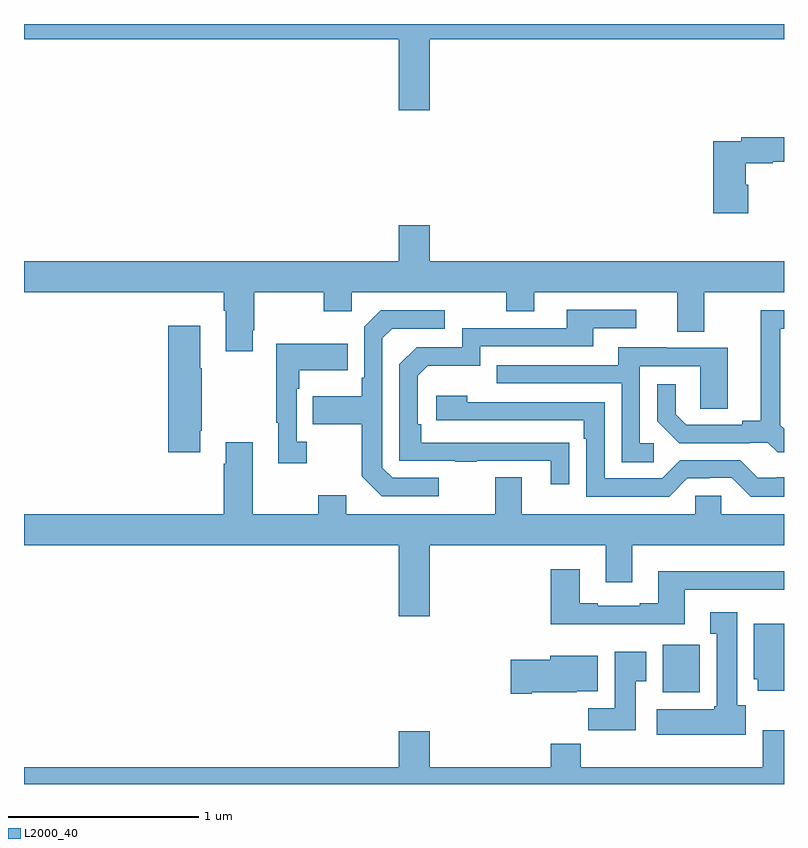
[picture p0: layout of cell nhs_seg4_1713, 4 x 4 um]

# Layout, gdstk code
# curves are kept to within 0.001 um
import gdstk
lib = gdstk.Library(unit=1e-6, precision=1e-09)
def R(c, l, rs):  # rectangles x0, y0, x1, y1
    for r in rs: c.add(gdstk.rectangle(r[:2], r[2:], *l))
def P(c, l, *ps):  # polygons
    for p in ps: c.add(gdstk.Polygon(p, *l))
L2000_40 = (2000, 40)

nhs_seg4_1713 = lib.new_cell('nhs_seg4_1713')
R(nhs_seg4_1713, L2000_40, [(202.361,793.382,202.557,793.633)])
P(nhs_seg4_1713, L2000_40, [(201.136,796.82),(203,796.82),(203,796.9),(199,796.9),(199,796.82),(200.972,796.82),(200.972,796.446),(201.136,796.446)],
  [(202.811,796.053),(202.798,796.053),(202.798,796.168),(202.941,796.168),(202.941,796.176),(203,796.176),(203,796.304),(202.774,796.304),(202.774,796.284),(202.628,796.284),(202.628,795.903),(202.811,795.903)],
  [(200.203,795.289),(200.211,795.289),(200.211,795.488),(200.578,795.488),(200.578,795.389),(200.724,795.389),(200.724,795.488),(201.538,795.488),(201.538,795.389),(201.685,795.389),(201.685,795.488),(202.439,795.488),(202.439,795.28),(202.579,795.28),(202.579,795.488),(203,795.488),(203,795.652),(201.136,795.652),(201.136,795.841),(200.972,795.841),(200.972,795.652),(199,795.652),(199,795.488),(200.051,795.488),(200.051,795.392),(200.063,795.392),(200.063,795.177),(200.203,795.177)],
  [(201.869,794.696),(201.092,794.697),(201.092,794.794),(201.072,794.794),(201.072,795.048),(201.125,795.101),(201.402,795.101),(201.402,795.204),(201.997,795.204),(201.997,795.3),(202.222,795.3),(202.222,795.396),(201.857,795.396),(201.857,795.3),(201.306,795.3),(201.306,795.198),(201.066,795.198),(200.976,795.108),(200.976,794.601),(201.271,794.601),(201.271,794.596),(201.383,794.596),(201.383,794.601),(201.773,794.601),(201.773,794.478),(201.869,794.478)],
  [(201.184,794.511),(200.94,794.511),(200.886,794.565),(200.886,795.246),(200.937,795.297),(201.214,795.297),(201.214,795.393),(200.877,795.393),(200.79,795.306),(200.79,795.037),(200.778,795.037),(200.778,794.941),(200.521,794.941),(200.521,794.794),(200.778,794.794),(200.778,794.521),(200.883,794.415),(201.184,794.415)],
  [(203,794.77),(202.981,794.789),(202.981,795.297),(203,795.297),(203,795.393),(202.877,795.393),(202.877,794.813),(202.781,794.813),(202.781,794.79),(202.486,794.79),(202.429,794.847),(202.429,795.004),(202.332,795.004),(202.332,794.81),(202.448,794.694),(202.82,794.694),(202.82,794.697),(202.914,794.697),(202.966,794.645),(203,794.645)],
  [(199.927,794.758),(199.935,794.758),(199.935,795.089),(199.927,795.089),(199.927,795.313),(199.76,795.313),(199.76,794.646),(199.927,794.646)],
  [(200.488,794.702),(200.436,794.702),(200.436,794.981),(200.449,794.981),(200.449,795.077),(200.705,795.077),(200.705,795.217),(200.328,795.217),(200.328,794.801),(200.339,794.801),(200.339,794.589),(200.488,794.589)],
  [(202.315,794.694),(202.242,794.694),(202.242,795.099),(202.56,795.099),(202.56,794.875),(202.705,794.875),(202.705,795.195),(202.381,795.195),(202.381,795.199),(202.127,795.199),(202.127,795.105),(201.487,795.105),(201.487,795.009),(202.146,795.009),(202.146,794.593),(202.315,794.593)],
  [(203,794.515),(202.963,794.515),(202.963,794.511),(202.863,794.511),(202.77,794.604),(202.455,794.604),(202.359,794.508),(202.056,794.508),(202.056,794.91),(201.332,794.91),(201.332,794.944),(201.171,794.944),(201.171,794.814),(201.947,794.814),(201.947,794.717),(201.96,794.717),(201.96,794.412),(202.395,794.412),(202.491,794.508),(202.61,794.508),(202.61,794.511),(202.725,794.511),(202.825,794.411),(203,794.411)],
  [(201.619,794.515),(201.479,794.515),(201.479,794.32),(200.695,794.32),(200.695,794.419),(200.548,794.419),(200.548,794.32),(200.203,794.32),(200.203,794.698),(200.063,794.698),(200.063,794.585),(200.051,794.585),(200.051,794.32),(199,794.32),(199,794.156),(200.972,794.156),(200.972,793.782),(201.136,793.782),(201.136,794.156),(202.061,794.156),(202.061,793.962),(202.201,793.962),(202.201,794.156),(203,794.156),(203,794.32),(202.671,794.32),(202.671,794.418),(202.533,794.418),(202.533,794.32),(201.619,794.32)],
  [(202.477,793.923),(203,793.923),(203,794.02),(202.337,794.02),(202.337,793.852),(202.241,793.852),(202.241,793.839),(202.021,793.839),(202.021,793.852),(201.925,793.852),(201.925,794.029),(201.773,794.029),(201.773,793.742),(202.477,793.742)],
  [(202.798,793.314),(202.753,793.314),(202.753,793.804),(202.613,793.804),(202.613,793.691),(202.646,793.691),(202.646,793.308),(202.633,793.308),(202.633,793.294),(202.329,793.294),(202.329,793.16),(202.798,793.16)],
  [(203,793.744),(202.841,793.744),(202.841,793.452),(202.862,793.452),(202.862,793.392),(203,793.392)],
  [(202.219,793.441),(202.276,793.441),(202.276,793.597),(202.109,793.597),(202.109,793.3),(201.97,793.3),(201.97,793.182),(202.219,793.182)],
  [(201.673,793.382),(201.909,793.382),(201.909,793.388),(202.021,793.388),(202.021,793.576),(201.77,793.576),(201.77,793.553),(201.561,793.553),(201.561,793.375),(201.673,793.375)],
  [(203,793.183),(202.889,793.183),(202.889,792.988),(201.929,792.988),(201.929,793.112),(201.773,793.112),(201.773,792.988),(201.136,792.988),(201.136,793.177),(200.972,793.177),(200.972,792.988),(199,792.988),(199,792.9),(203,792.9)])

lib.write_gds('nhs_seg4_1713.gds')
